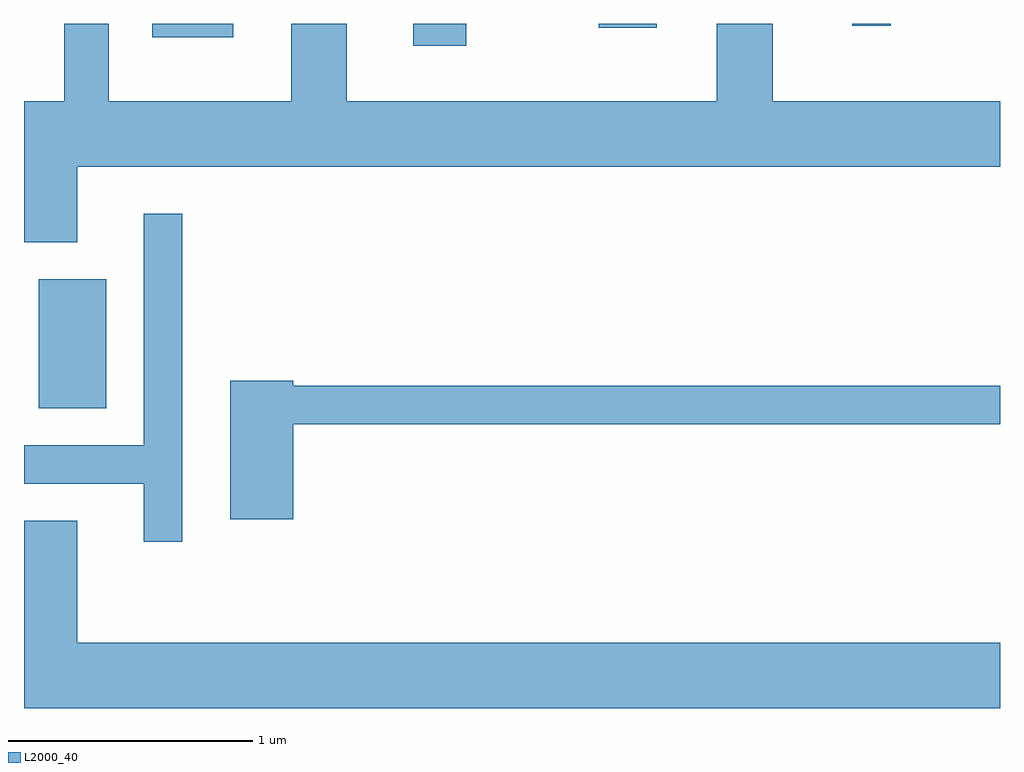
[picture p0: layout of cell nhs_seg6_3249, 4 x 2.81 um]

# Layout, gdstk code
import gdstk
lib = gdstk.Library(unit=1e-6, precision=1e-09)
def R(c, l, rs):  # rectangles x0, y0, x1, y1
    for r in rs: c.add(gdstk.rectangle(r[:2], r[2:], *l))
def P(c, l, *ps):  # polygons
    for p in ps: c.add(gdstk.Polygon(p, *l))
L2000_40 = (2000, 40)

nhs_seg6_3249 = lib.new_cell('nhs_seg6_3249')
R(nhs_seg6_3249, L2000_40, [(283.671,1564.586,283.949,1565.114), (285.206,1566.071,285.424,1566.162), (284.136,1566.106,284.468,1566.162), (285.966,1566.146,286.204,1566.162), (287.006,1566.153,287.164,1566.162)])
P(nhs_seg6_3249, L2000_40, [(283.829,1565.576),(287.611,1565.576),(287.611,1565.844),(286.679,1565.844),(286.679,1566.162),(286.451,1566.162),(286.451,1565.844),(284.934,1565.844),(284.934,1566.162),(284.706,1566.162),(284.706,1565.844),(283.959,1565.844),(283.959,1566.162),(283.776,1566.162),(283.776,1565.844),(283.611,1565.844),(283.611,1565.266),(283.829,1565.266)],
  [(284.259,1565.383),(284.101,1565.383),(284.101,1564.434),(283.611,1564.434),(283.611,1564.276),(284.101,1564.276),(284.101,1564.038),(284.259,1564.038)],
  [(284.714,1564.521),(287.611,1564.521),(287.611,1564.679),(284.714,1564.679),(284.714,1564.699),(284.456,1564.699),(284.456,1564.131),(284.714,1564.131)],
  [(287.611,1563.624),(283.829,1563.624),(283.829,1564.124),(283.611,1564.124),(283.611,1563.356),(287.611,1563.356)])

lib.write_gds('nhs_seg6_3249.gds')
